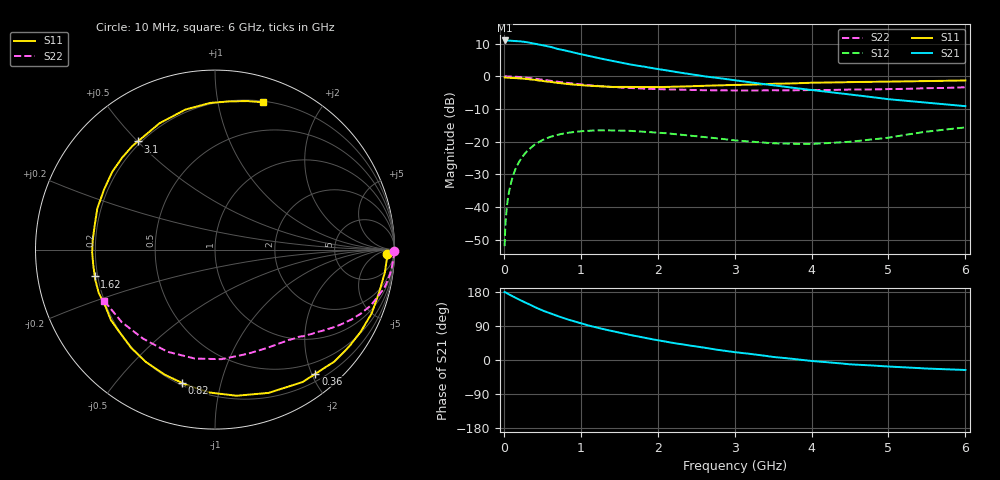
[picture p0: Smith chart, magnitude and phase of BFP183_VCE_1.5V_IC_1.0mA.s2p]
! Infineon Technologies  Discrete & RF Semiconductors
! BFP183
! VCE = 1.5 V,  IC =  1.0 mA
! Common Emitter S-Parameters:  Jan 2016
# GHz  S  MA  R  50
!  f  S11  S21  S12  S22
! GHz  MAG  ANG  MAG  ANG  MAG  ANG  MAG  ANG
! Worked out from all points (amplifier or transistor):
!   210 points, 10 MHz to 6 GHz, reference 50 ohm
!   highest |S21| = 11.0 dB at 10 MHz (marker M1)
!   |S21| within 3 dB of that: start of sweep to 782.2 MHz
!   unconditionally stable (mu >= 1): 2.436 GHz to end of sweep
!   at 185 MHz: K = 0.08, MSG = 18.8 dB, |S12| = -26.8 dB
!   at 1.52 GHz: K = 0.60, MSG = 10.4 dB, |S12| = -16.6 dB
!   at 6 GHz: K = 1.09, MAG = 1.4 dB, |S12| = -15.7 dB
!   S11 on the Smith chart (normalised r, x): 10 MHz: 36, -22; 360 MHz: 0.31, -2.06; 820 MHz: 0.21, -0.76; 1.62 GHz: 0.19, -0.11; 3.1 GHz: 0.19, +0.50; 6 GHz: 0.21, +1.36
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0.01  0.9606 -1.4  3.543 179.3  0.0025 87.1  0.9999 -0.5
0.02  0.9595 -2.8  3.532 178.6  0.0051 84.3  0.9997 -1.1
0.04  0.9557 -6.0  3.534 176.1  0.0102 86.7  0.9966 -2.1
0.065  0.9505 -9.7  3.525 173.3  0.0163 84.0  0.9936 -3.4
0.105  0.9442 -15.3  3.502 169.2  0.0262 79.5  0.9901 -5.7
0.155  0.9408 -22.8  3.466 163.9  0.0388 75.7  0.9841 -8.2
0.24  0.9229 -35.0  3.408 155.1  0.0582 68.8  0.9675 -12.6
0.36  0.8897 -51.0  3.223 143.9  0.082 58.9  0.9325 -17.9
0.4  0.8847 -56.5  3.171 139.8  0.0897 56.2  0.9224 -19.7
0.5  0.8524 -69.5  3.003 130.8  0.1053 49.0  0.8879 -23.6
0.6  0.8231 -81.6  2.848 123.1  0.1177 42.5  0.8559 -27.0
0.7  0.7969 -92.1  2.627 115.9  0.1273 36.7  0.8245 -29.9
0.82  0.7646 -104.1  2.452 107.8  0.1358 30.7  0.7938 -32.8
1.02  0.7304 -123.4  2.159 95.6  0.1445 21.7  0.7473 -37.4
1.3  0.7002 -146.0  1.829 81.2  0.1491 12.0  0.7015 -42.7
1.62  0.6864 -167.4  1.538 67.0  0.1466 3.6  0.6658 -47.9
2.02  0.6836 169.1  1.283 51.4  0.1371 -3.4  0.6357 -54.8
2.6  0.7179 142.9  1.002 32.6  0.1174 -8.7  0.6125 -66.1
3.1  0.7403 125.5  0.84 18.5  0.1023 -7.6  0.6056 -77.2
4.1  0.7995 99.9  0.597 -4.1  0.0933 9.2  0.6163 -103.4
5.1  0.8324 83.0  0.435 -18.2  0.1202 23.5  0.6391 -131.6
6  0.8636 71.8  0.349 -26.3  0.1649 20.7  0.6795 -155.0
